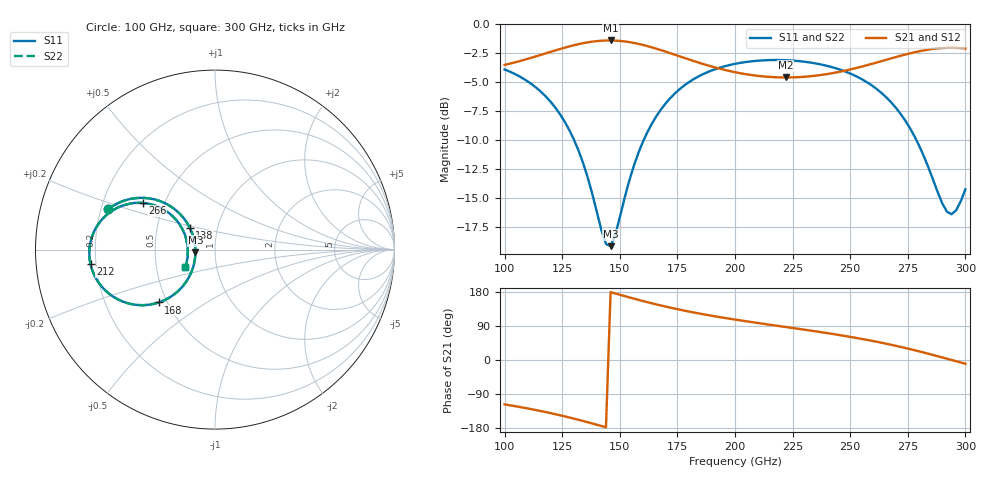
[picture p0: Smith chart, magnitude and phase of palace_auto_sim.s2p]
#  GHZ S DB R 50
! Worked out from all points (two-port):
!   101 points, 100 GHz to 300 GHz, reference 50 ohm
!   highest |S21| = -1.40 dB at 146 GHz (marker M1); lowest = -4.6 dB at 222 GHz (marker M2)
!   |S21| within 3 dB of the highest: start of sweep to 207.6 GHz; 236.7 GHz to end of sweep
!   lowest |S11| = -19.2 dB at 146 GHz (marker M3), VSWR 1.25, Z = 40.2 - j1.25 ohm
!   |S11| at or under -10 dB: 130.1 GHz to 160.4 GHz (30.25 GHz wide, 20.8 % of centre); 278.7 GHz to end of sweep
!   |S22| runs from -19.2 to -3.1 dB; largest |S21 - S12| = 6.9e-14
!   S11 on the Smith chart (normalised r, x): 100 GHz: 0.23, +0.17; 138 GHz: 0.73, +0.19; 168 GHz: 0.45, -0.33; 212 GHz: 0.18, -0.06; 266 GHz: 0.38, +0.26; 300 GHz: 0.70, -0.15
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100  -3.91 159.4  -3.51 -117.2  -3.51 -117.2  -3.91 159.5
110  -4.93 150.8  -2.99 -127.9  -2.99 -127.9  -4.93 150.8
120  -6.71 141.9  -2.38 -140.3  -2.38 -140.3  -6.71 141.9
128  -9.11 135.9  -1.92 -151.6  -1.92 -151.6  -9.11 136.0
134  -11.95 134.7  -1.64 -160.9  -1.64 -160.9  -11.95 134.8
138  -14.62 139.0  -1.50 -167.4  -1.50 -167.4  -14.61 139.1
144  -18.99 169.5  -1.40 -177.6  -1.40 -177.6  -18.96 169.6
146  -19.18 -172.0  -1.40 179.0  -1.40 179.0  -19.15 -172.0
158  -11.16 -131.3  -1.69 158.9  -1.69 158.9  -11.15 -131.3
168  -7.33 -136.8  -2.24 143.6  -2.24 143.6  -7.32 -136.8
182  -4.75 -149.3  -3.17 125.5  -3.17 125.5  -4.75 -149.3
200  -3.42 -164.3  -4.14 106.7  -4.14 106.7  -3.42 -164.3
212  -3.12 -173.2  -4.50 95.8  -4.50 95.8  -3.12 -173.2
222  -3.11 179.6  -4.60 87.1  -4.60 87.1  -3.11 179.7
234  -3.35 171.1  -4.47 76.5  -4.47 76.5  -3.35 171.2
250  -4.26 159.3  -3.91 61.0  -3.91 61.0  -4.26 159.4
266  -6.38 147.1  -3.05 42.5  -3.05 42.5  -6.38 147.2
268  -6.80 145.8  -2.94 39.9  -2.94 39.9  -6.80 145.9
278  -9.72 141.5  -2.42 25.7  -2.42 25.7  -9.72 141.6
292  -16.20 171.2  -2.04 3.4  -2.04 3.4  -16.17 171.3
296  -16.07 -165.7  -2.04 -3.2  -2.04 -3.2  -16.04 -165.7
300  -14.27 -149.0  -2.09 -9.8  -2.09 -9.8  -14.25 -149.1
